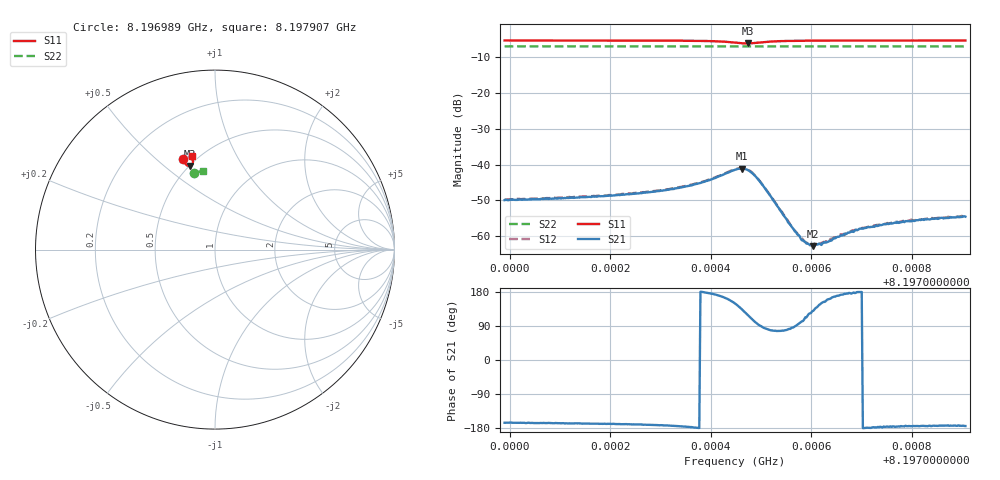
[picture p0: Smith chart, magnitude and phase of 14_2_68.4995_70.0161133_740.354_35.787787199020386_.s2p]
#  HZ  S  RI  R  50.00
! Rohde & Schwarz Vector Network Analyzer
! Rohde-Schwarz,ZNB20-2Port,1311601062101988,3.16
! Created: UTC 3/20/2024, 4:49:08 PM
! freq[Hz]  re:S11  im:S11  re:S21  im:S21  re:S12  im:S12  re:S22  im:S22
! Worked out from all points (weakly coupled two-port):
!   401 points, 8.196989 GHz to 8.197907 GHz, reference 50 ohm
!   highest |S21| = -41.13 dB at 8.197462 GHz (marker M1); lowest = -62.8 dB at 8.197604 GHz (marker M2)
!   lowest |S11| = -6.2 dB at 8.197473 GHz (marker M3), VSWR 2.90, Z = 25.1 + j30.8 ohm
!   |S11| at or under -10 dB: nowhere
!   |S22| runs from -7.1 to -7.0 dB; largest |S21 - S12| = 0.00045
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8.1969893e9  -0.18 0.5049  -0.00309 -0.000796  -0.0032 -0.000679  -0.1152 0.4289
8.1971429e9  -0.1678 0.5086  -0.00342 -0.00076  -0.00354 -0.000625  -0.1067 0.4308
8.1972163e9  -0.1611 0.51  -0.0037 -0.000721  -0.00378 -0.000558  -0.1026 0.4316
8.1972966e9  -0.1526 0.5113  -0.00422 -0.000578  -0.00433 -0.000463  -0.098 0.4324
8.1973814e9  -0.1384 0.5096  -0.0056 4.62e-06  -0.0057 0.000244  -0.0933 0.4333
8.1974479e9  -0.1228 0.4852  -0.00725 0.00436  -0.00718 0.00471  -0.0894 0.4331
8.1974617e9  -0.1286 0.473  -0.00606 0.00636  -0.00589 0.00669  -0.0888 0.4332
8.1974731e9  -0.14 0.4666  -0.00404 0.00738  -0.00377 0.00765  -0.0886 0.433
8.1974846e9  -0.153 0.4677  -0.00177 0.00712  -0.00147 0.00729  -0.0883 0.4332
8.1974984e9  -0.1633 0.4764  -2.84e-05 0.00568  0.000228 0.00577  -0.0878 0.4337
8.1975717e9  -0.1592 0.506  -4.72e-05 0.00107  -9.86e-06 0.0011  -0.0837 0.4351
8.1975832e9  -0.1573 0.5077  -0.000195 0.00085  -0.000216 0.000878  -0.0829 0.435
8.1975901e9  -0.1563 0.5084  -0.000304 0.000732  -0.000293 0.000767  -0.0826 0.4351
8.1976015e9  -0.1547 0.5097  -0.000478 0.000598  -0.000467 0.000612  -0.0819 0.4354
8.1976038e9  -0.1545 0.5099  -0.000468 0.000559  -0.000476 0.000567  -0.0818 0.4352
8.197613e9  -0.1531 0.5107  -0.000604 0.000473  -0.000553 0.000485  -0.0813 0.4355
8.1976337e9  -0.1505 0.5122  -0.000792 0.000283  -0.000799 0.000338  -0.0802 0.4357
8.1976566e9  -0.1479 0.5135  -0.000989 0.000154  -0.00102 0.000227  -0.0788 0.4358
8.1976933e9  -0.1441 0.5151  -0.00123 1.58e-05  -0.00124 9.45e-05  -0.0767 0.4362
8.1977552e9  -0.1383 0.5171  -0.00149 -9.8e-05  -0.00152 -5.51e-05  -0.0732 0.4368
8.1978354e9  -0.1314 0.519  -0.0017 -0.000202  -0.00176 -0.00011  -0.0687 0.4373
8.1979065e9  -0.1258 0.5206  -0.00187 -0.00019  -0.00186 -0.000156  -0.0647 0.4378
